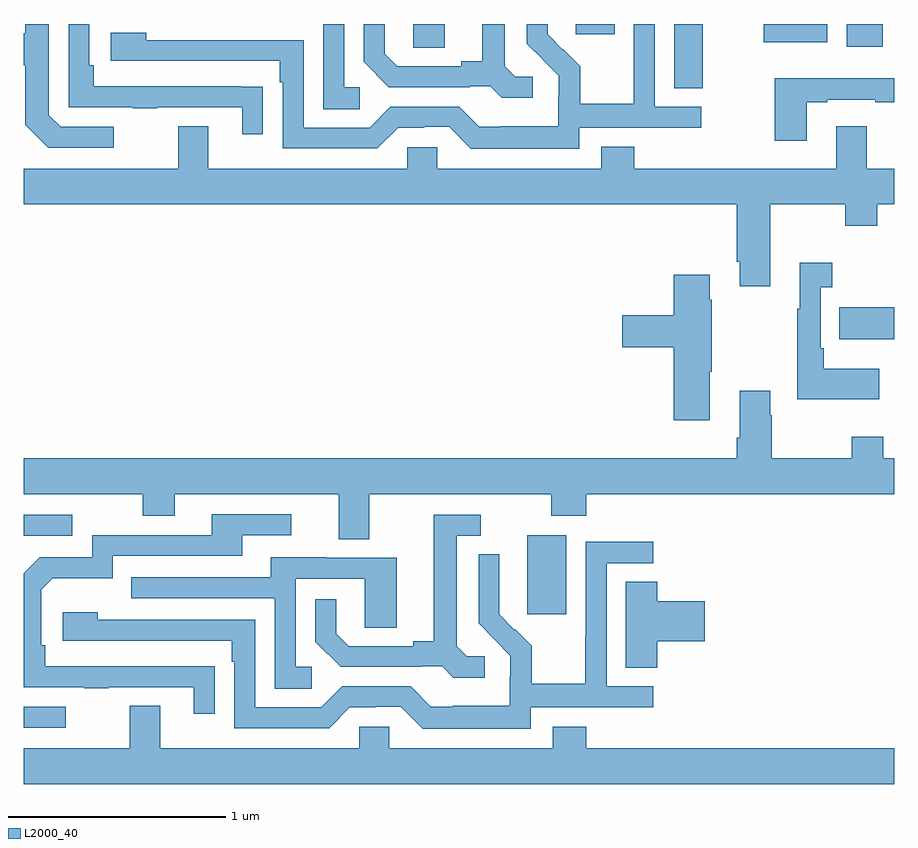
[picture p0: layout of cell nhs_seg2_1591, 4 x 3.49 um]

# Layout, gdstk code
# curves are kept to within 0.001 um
import gdstk
lib = gdstk.Library(unit=1e-6, precision=1e-09)
def R(c, l, rs):  # rectangles x0, y0, x1, y1
    for r in rs: c.add(gdstk.rectangle(r[:2], r[2:], *l))
def P(c, l, *ps):  # polygons
    for p in ps: c.add(gdstk.Polygon(p, *l))
L2000_40 = (2000, 40)

nhs_seg2_1591 = lib.new_cell('nhs_seg2_1591')
R(nhs_seg2_1591, L2000_40, [(193,642.567,193.192,642.663), (195.314,643.089,195.493,643.45), (193,643.449,193.222,643.545), (196.747,644.351,197,644.499), (195.989,645.505,196.12,645.8), (194.79,645.691,194.935,645.8), (196.781,645.696,196.948,645.8), (196.4,645.716,196.693,645.8), (195.536,645.753,195.715,645.8)])
P(nhs_seg2_1591, L2000_40, [(194.099,645.512),(193.997,645.512),(193.997,645.513),(193.322,645.513),(193.322,645.61),(193.302,645.61),(193.302,645.8),(193.206,645.8),(193.206,645.417),(193.501,645.417),(193.501,645.412),(193.613,645.412),(193.613,645.417),(194.003,645.417),(194.003,645.294),(194.099,645.294)],
  [(193.414,645.327),(193.17,645.327),(193.116,645.381),(193.116,645.8),(193.008,645.8),(193.008,645.757),(193,645.757),(193,645.61),(193.008,645.61),(193.008,645.337),(193.113,645.231),(193.414,645.231)],
  [(195.34,645.558),(195.258,645.558),(195.211,645.605),(195.211,645.8),(195.107,645.8),(195.107,645.629),(195.011,645.629),(195.011,645.606),(194.716,645.606),(194.659,645.663),(194.659,645.8),(194.562,645.8),(194.562,645.626),(194.678,645.51),(195.05,645.51),(195.05,645.513),(195.144,645.513),(195.196,645.461),(195.34,645.461)],
  [(194.545,645.51),(194.472,645.51),(194.472,645.8),(194.376,645.8),(194.376,645.409),(194.545,645.409)],
  [(195.552,645.324),(196.114,645.324),(196.114,645.42),(195.9,645.42),(195.9,645.8),(195.804,645.8),(195.804,645.656),(195.802,645.656),(195.802,645.433),(195.557,645.433),(195.557,645.607),(195.48,645.684),(195.477,645.681),(195.407,645.752),(195.407,645.8),(195.312,645.8),(195.312,645.71),(195.458,645.562),(195.458,645.465),(195.456,645.465),(195.456,645.331),(195.193,645.331),(195.193,645.327),(195.093,645.327),(195,645.42),(194.685,645.42),(194.589,645.324),(194.286,645.324),(194.286,645.726),(193.562,645.726),(193.562,645.76),(193.401,645.76),(193.401,645.63),(194.177,645.63),(194.177,645.533),(194.19,645.533),(194.19,645.228),(194.625,645.228),(194.721,645.324),(194.84,645.324),(194.84,645.327),(194.955,645.327),(195.055,645.227),(195.552,645.227)],
  [(196.597,645.441),(196.693,645.441),(196.693,645.453),(196.913,645.453),(196.913,645.441),(197,645.441),(197,645.55),(196.45,645.55),(196.45,645.264),(196.597,645.264)],
  [(196.429,644.972),(196.774,644.972),(196.774,644.873),(196.921,644.873),(196.921,644.972),(197,644.972),(197,645.136),(196.873,645.136),(196.873,645.331),(196.733,645.331),(196.733,645.136),(195.806,645.136),(195.806,645.235),(195.653,645.235),(195.653,645.136),(194.901,645.136),(194.901,645.234),(194.763,645.234),(194.763,645.136),(193.849,645.136),(193.849,645.331),(193.709,645.331),(193.709,645.136),(193,645.136),(193,644.972),(196.277,644.972),(196.277,644.707),(196.289,644.707),(196.289,644.595),(196.429,644.595)],
  [(196.931,644.215),(196.675,644.215),(196.675,644.311),(196.662,644.311),(196.662,644.591),(196.714,644.591),(196.714,644.704),(196.565,644.704),(196.565,644.491),(196.554,644.491),(196.554,644.075),(196.931,644.075)],
  [(196.153,644.203),(196.161,644.203),(196.161,644.534),(196.153,644.534),(196.153,644.647),(195.986,644.647),(195.986,644.462),(195.75,644.462),(195.75,644.315),(195.986,644.315),(195.986,643.98),(196.153,643.98)],
  [(194.587,643.64),(195.424,643.64),(195.424,643.541),(195.584,643.541),(195.584,643.64),(197,643.64),(197,643.804),(196.95,643.804),(196.95,643.903),(196.804,643.903),(196.804,643.804),(196.437,643.804),(196.437,644.003),(196.429,644.003),(196.429,644.116),(196.289,644.116),(196.289,643.9),(196.277,643.9),(196.277,643.804),(193,643.804),(193,643.64),(193.546,643.64),(193.546,643.541),(193.693,643.541),(193.693,643.64),(194.447,643.64),(194.447,643.432),(194.587,643.432)],
  [(193.877,642.848),(193.1,642.849),(193.1,642.946),(193.08,642.946),(193.08,643.2),(193.133,643.253),(193.41,643.253),(193.41,643.356),(194.005,643.356),(194.005,643.452),(194.23,643.452),(194.23,643.548),(193.865,643.548),(193.865,643.452),(193.314,643.452),(193.314,643.35),(193.074,643.35),(193,643.276),(193,642.753),(193.279,642.753),(193.279,642.748),(193.391,642.748),(193.391,642.753),(193.781,642.753),(193.781,642.63),(193.877,642.63)],
  [(195.118,642.894),(195.036,642.894),(194.989,642.941),(194.989,643.449),(195.1,643.449),(195.1,643.545),(194.885,643.545),(194.885,642.965),(194.789,642.965),(194.789,642.942),(194.494,642.942),(194.437,642.999),(194.437,643.156),(194.34,643.156),(194.34,642.962),(194.456,642.846),(194.828,642.846),(194.828,642.849),(194.922,642.849),(194.974,642.797),(195.118,642.797)],
  [(195.33,642.66),(195.892,642.66),(195.892,642.756),(195.678,642.756),(195.678,643.323),(195.892,643.323),(195.892,643.422),(195.582,643.422),(195.582,642.992),(195.58,642.992),(195.58,642.769),(195.335,642.769),(195.335,642.943),(195.258,643.02),(195.255,643.017),(195.185,643.088),(195.186,643.364),(195.09,643.364),(195.09,643.046),(195.236,642.898),(195.236,642.801),(195.234,642.801),(195.234,642.667),(194.971,642.667),(194.971,642.663),(194.871,642.663),(194.778,642.756),(194.463,642.756),(194.367,642.66),(194.064,642.66),(194.064,643.062),(193.34,643.062),(193.34,643.096),(193.179,643.096),(193.179,642.966),(193.955,642.966),(193.955,642.869),(193.968,642.869),(193.968,642.564),(194.403,642.564),(194.499,642.66),(194.618,642.66),(194.618,642.663),(194.733,642.663),(194.833,642.563),(195.33,642.563)],
  [(194.323,642.846),(194.25,642.846),(194.25,643.251),(194.568,643.251),(194.568,643.027),(194.713,643.027),(194.713,643.347),(194.389,643.347),(194.389,643.351),(194.135,643.351),(194.135,643.257),(193.495,643.257),(193.495,643.161),(194.154,643.161),(194.154,642.745),(194.323,642.745)],
  [(195.911,642.965),(196.129,642.965),(196.129,643.148),(195.911,643.148),(195.911,643.238),(195.767,643.238),(195.767,642.841),(195.911,642.841)],
  [(197,642.472),(195.584,642.472),(195.584,642.571),(195.431,642.571),(195.431,642.472),(194.679,642.472),(194.679,642.57),(194.541,642.57),(194.541,642.472),(193.627,642.472),(193.627,642.667),(193.487,642.667),(193.487,642.472),(193,642.472),(193,642.308),(197,642.308)])

lib.write_gds('nhs_seg2_1591.gds')
